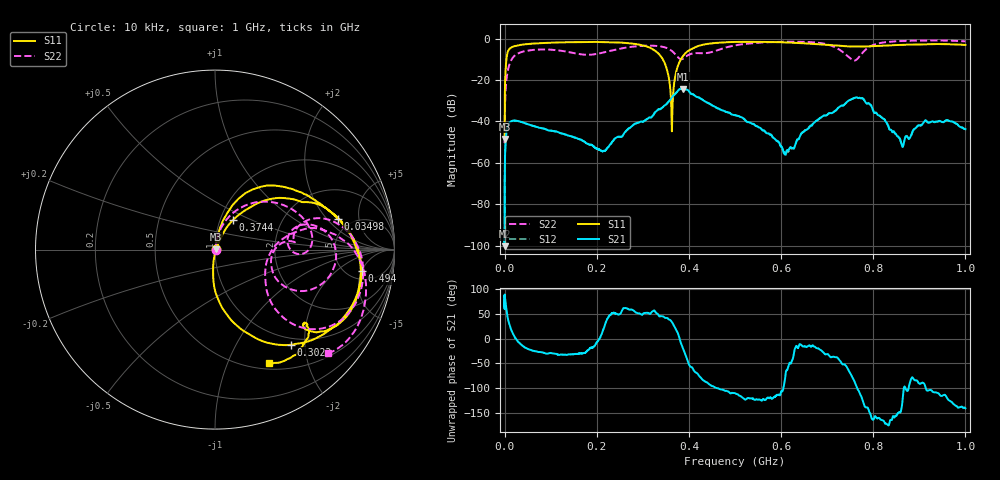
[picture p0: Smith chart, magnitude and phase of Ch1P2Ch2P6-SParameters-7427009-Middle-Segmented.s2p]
#  HZ  S  DB  R  50.00
! Rohde & Schwarz Vector Network Analyzer
! Rohde-Schwarz,ZNL6-2Port,1323001206101709,1.40.1.1-21.04.2.40
! Created: UTC 3/14/2023, 12:17:17 PM
! freq[Hz]  db:S11  ang:S11  db:S21  ang:S21  db:S12  ang:S12  db:S22  ang:S22
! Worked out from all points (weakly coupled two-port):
!   4997 points, 10 kHz to 1 GHz, reference 50 ohm
!   highest |S21| = -24.34 dB at 386.3 MHz (marker M1); lowest = -100.2 dB at 10.9 kHz (marker M2)
!   lowest |S11| = -48.4 dB at 10 kHz (marker M3), VSWR 1.01, Z = 50.3 + j0.162 ohm
!   |S11| at or under -10 dB: start of sweep to 3.984 MHz; 343.3 MHz to 382.7 MHz (39.44 MHz wide, 10.9 % of centre)
!   |S22| runs from -50.2 to -0.9 dB; largest |S21 - S12| = 0.0016
!   S11 on the Smith chart (normalised r, x): 10 kHz: 1.01, +0.00; 34.98 MHz: 3.91, +2.66; 302.3 MHz: 0.88, -1.72; 374.4 MHz: 1.15, +0.40; 494 MHz: 6.62, -5.09; 1 GHz: 0.57, -1.43
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10000  -48.43 25.1  -95.06 64.9  -97.25 64.8  -50.12 1.5
10900  -48.36 24.2  -100.22 84.4  -98.29 54.3  -49.97 1.3
101000  -39.31 64.9  -77.48 85.6  -75.78 89.6  -47.65 39.2
1010000  -21.25 78.4  -56.06 80.8  -56.18 80.6  -31.52 79.2
6636352  -6.57 49.8  -42.24 42.1  -42.24 42.1  -15.86 70.8
3.497649e7  -3.02 14.0  -40.17 -11.0  -40.17 -12.8  -6.59 30.7
1.668832e8  -1.65 -12.0  -48.94 -29.7  -48.96 -31.4  -7.63 0.9
2.154365e8  -1.66 -21.7  -54.23 20.9  -54.19 18.9  -6.66 15.4
3.023324e8  -3.38 -51.5  -39.85 51.4  -39.85 49.9  -3.46 0.2
3.333815e8  -7.12 -73.9  -34.18 48.3  -34.19 46.7  -3.61 -11.8
3.625552e8  -39.66 -73.7  -28.62 34.2  -28.66 32.7  -5.88 -26.8
3.74433e8  -14.27 58.6  -25.64 14.5  -25.67 13.0  -8.58 -25.1
3.863109e8  -8.72 46.3  -24.34 -17.7  -24.37 -19.2  -9.84 -3.5
4.940451e8  -1.65 -8.4  -36.68 -109.2  -36.65 -110.7  -3.55 14.2
5.000882e8  -1.62 -10.0  -36.96 -110.0  -36.92 -111.6  -3.28 12.8
6.094895e8  -1.85 -30.3  -55.87 -73.8  -56.67 -75.1  -1.50 -11.9
6.667949e8  -2.55 -37.7  -42.01 -14.6  -41.82 -15.5  -1.73 -26.6
7.657771e8  -3.79 -40.0  -28.52 -101.5  -28.45 -103.0  -9.77 1.6
8.335017e8  -3.31 -40.2  -42.74 -174.6  -42.72 -176.3  -1.57 -7.6
8.630921e8  -3.04 -42.4  -52.05 -129.2  -51.78 -129.7  -1.16 -15.8
9.131041e8  -2.77 -48.6  -39.48 -96.6  -39.60 -98.2  -0.92 -25.8
1e9  -3.07 -64.6  -43.73 -140.1  -43.78 -141.6  -1.36 -42.5
